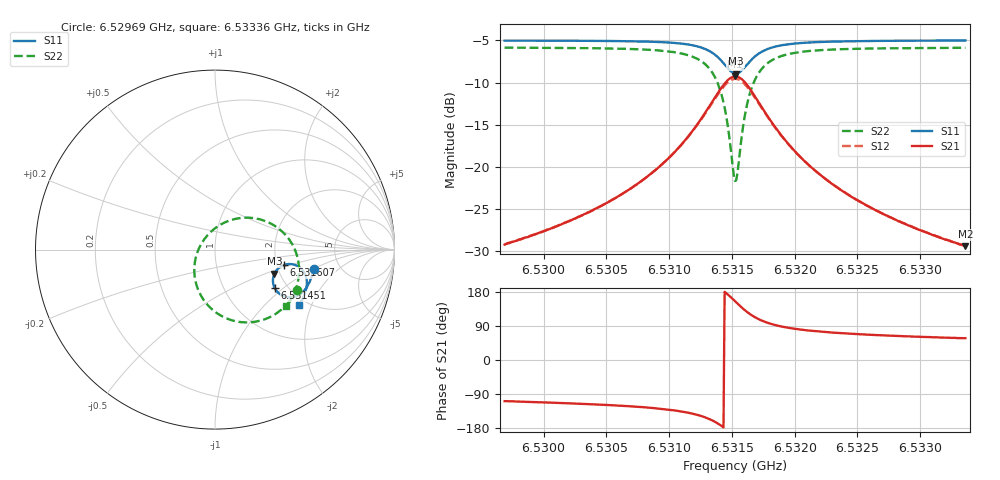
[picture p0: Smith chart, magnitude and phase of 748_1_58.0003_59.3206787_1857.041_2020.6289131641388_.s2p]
#  HZ  S  RI  R  50.00
! Rohde & Schwarz Vector Network Analyzer
! Rohde-Schwarz,ZNB20-2Port,1311601062101988,3.16
! Created: UTC 3/21/2024, 1:23:52 AM
! freq[Hz]  re:S11  im:S11  re:S21  im:S21  re:S12  im:S12  re:S22  im:S22
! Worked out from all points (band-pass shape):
!   401 points, 6.52969 GHz to 6.53336 GHz, reference 50 ohm
!   highest |S21| = -9.28 dB at 6.531525 GHz (marker M1); lowest = -29.4 dB at 6.53336 GHz (marker M2)
!   |S21| within 3 dB of the highest: 6.531344 GHz to 6.531711 GHz (366.6 kHz wide, 0.00561 % of centre)
!   lowest |S11| = -8.9 dB at 6.531534 GHz (marker M3), VSWR 2.11, Z = 93.7 - j28.8 ohm
!   |S11| at or under -10 dB: nowhere
!   |S22| runs from -21.7 to -5.9 dB; largest |S21 - S12| = 0.014
!   S11 on the Smith chart (normalised r, x): 6.52969 GHz: 3.21, -0.99; 6.531451 GHz: 1.72, -0.88; 6.531607 GHz: 2.19, -0.44; 6.53336 GHz: 1.81, -1.64
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6.5296902e9  0.55 -0.1056  -0.011 -0.0328  -0.0119 -0.0328  0.4567 -0.2245
6.5303048e9  0.5361 -0.1576  -0.0224 -0.0464  -0.0235 -0.046  0.4196 -0.2827
6.5306534e9  0.522 -0.1911  -0.0371 -0.0607  -0.0388 -0.0597  0.3811 -0.3248
6.5309194e9  0.5029 -0.2213  -0.0617 -0.0784  -0.064 -0.0765  0.3257 -0.3654
6.5311396e9  0.4705 -0.2507  -0.1101 -0.0981  -0.113 -0.0939  0.2294 -0.401
6.5312955e9  0.4196 -0.2661  -0.1895 -0.0989  -0.1909 -0.0906  0.0865 -0.3914
6.5313873e9  0.3691 -0.2532  -0.2667 -0.0598  -0.2636 -0.0486  -0.0391 -0.3106
6.531424e9  0.3471 -0.2355  -0.2985 -0.0236  -0.292 -0.0121  -0.0854 -0.2428
6.5314515e9  0.3334 -0.2157  -0.3172 0.0145  -0.3079 0.0249  -0.1086 -0.1762
6.5315065e9  0.3233 -0.1623  -0.3227 0.1108  -0.3096 0.1156  -0.099 -0.0174
6.5315249e9  0.3275 -0.1433  -0.312 0.1438  -0.2985 0.1464  -0.075 0.0343
6.531534e9  0.3312 -0.1341  -0.3039 0.1596  -0.2907 0.1608  -0.0594 0.0582
6.5315524e9  0.3411 -0.1173  -0.2839 0.1878  -0.2714 0.1868  -0.0215 0.1006
6.5316074e9  0.3845 -0.0855  -0.2039 0.2401  -0.1957 0.2355  0.1188 0.1723
6.531635e9  0.4078 -0.0806  -0.163 0.2478  -0.157 0.2427  0.1879 0.1778
6.5316716e9  0.4354 -0.0825  -0.1153 0.2443  -0.1116 0.2399  0.2668 0.1636
6.5317634e9  0.4803 -0.1065  -0.039 0.2073  -0.0374 0.205  0.3898 0.085
6.531901e9  0.5057 -0.1466  0.00538 0.1513  0.00664 0.1505  0.4548 -0.0263
6.5321395e9  0.5115 -0.1941  0.0224 0.0959  0.0237 0.0954  0.4678 -0.1389
6.532433e9  0.5044 -0.232  0.0237 0.0636  0.0247 0.0633  0.4532 -0.2109
6.5327541e9  0.4931 -0.2628  0.0217 0.0455  0.0228 0.0452  0.4337 -0.2584
6.5333595e9  0.4683 -0.3098  0.0181 0.0286  0.0189 0.0282  0.3981 -0.3158
